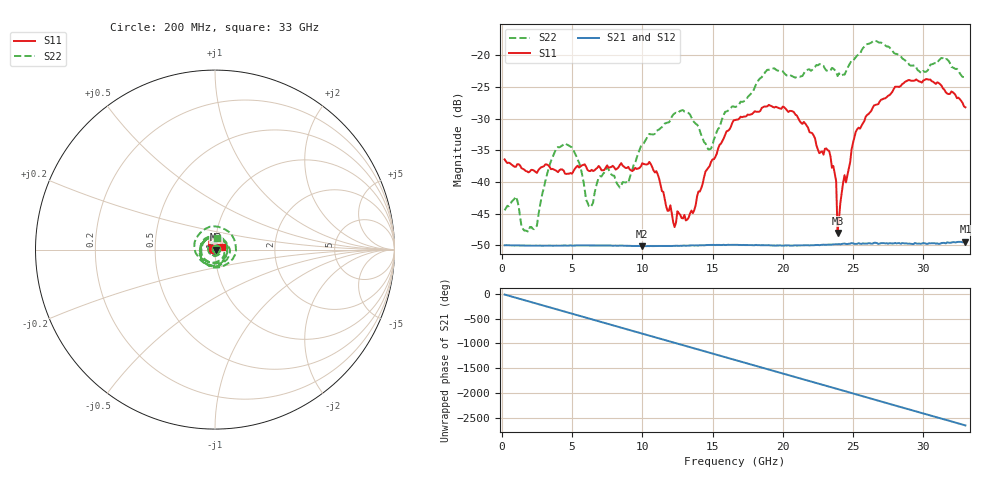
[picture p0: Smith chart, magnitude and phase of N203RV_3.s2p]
# GHZ S RI R 50
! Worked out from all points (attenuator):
!   329 points, 200 MHz to 33 GHz, reference 50 ohm
!   highest |S21| = -49.41 dB at 33 GHz (marker M1); lowest = -50.1 dB at 10 GHz (marker M2)
!   lowest |S11| = -48.0 dB at 23.9 GHz (marker M3), VSWR 1.01, Z = 50.4 - j0.112 ohm
!   |S11| at or under -10 dB: start of sweep to end of sweep
!   |S22| runs from -47.9 to -17.7 dB; largest |S21 - S12| = 7.2e-05
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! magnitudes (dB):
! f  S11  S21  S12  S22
! 200 MHz  -36.4  -50.0  -50.0  -44.5
! 2.3 GHz  -38.2  -50.0  -50.0  -47.4
! 4.5 GHz  -38.7  -50.0  -50.0  -33.9
! 5.7 GHz  -37.4  -50.0  -50.0  -38.6
! 6.3 GHz  -38.3  -50.0  -50.0  -44.0
! 7.5 GHz  -37.4  -50.0  -50.0  -37.6
! 9 GHz  -37.6  -50.1  -50.1  -40.2
! 10 GHz  -37.0  -50.1  -50.1  -34.1
! 11.2 GHz  -39.5  -50.1  -50.1  -31.7
! 12.3 GHz  -47.1  -50.1  -50.1  -29.2
! 13.2 GHz  -45.9  -50.0  -50.0  -29.0
! 14.7 GHz  -37.7  -49.9  -49.9  -34.9
! 16.6 GHz  -30.2  -49.9  -49.9  -28.2
! 18.9 GHz  -28.1  -50.0  -50.0  -22.3
! 22.1 GHz  -32.3  -50.0  -49.9  -22.3
! 23.6 GHz  -37.5  -49.8  -49.8  -22.1
! 23.8 GHz  -39.9  -49.8  -49.8  -22.7
! 23.9 GHz  -48.0  -49.8  -49.8  -23.3
! 25.2 GHz  -32.1  -49.8  -49.6  -20.3
! 27.6 GHz  -26.3  -49.6  -49.7  -18.8
! 30.5 GHz  -23.8  -49.7  -49.7  -21.5
! 33 GHz  -28.2  -49.4  -49.4  -23.5
